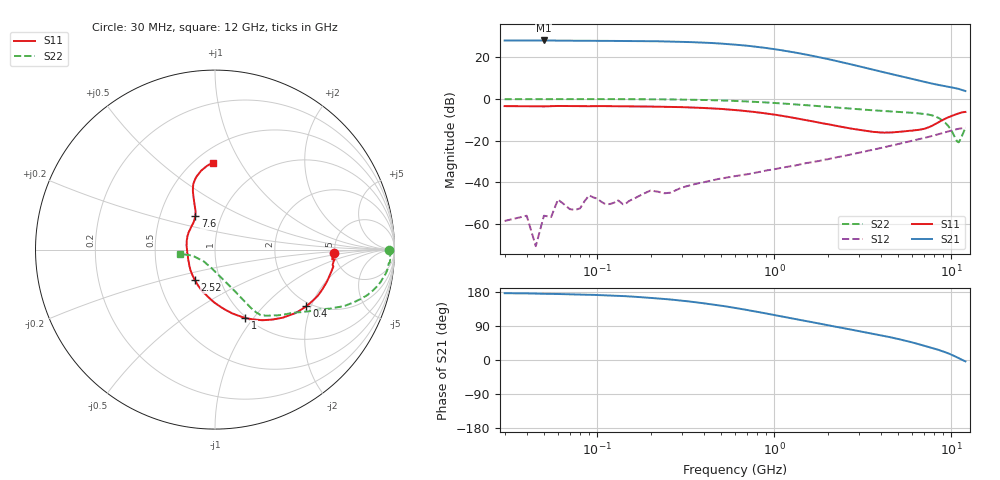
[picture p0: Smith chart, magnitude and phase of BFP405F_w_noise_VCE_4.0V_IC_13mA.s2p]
! Infineon Technologies  Discrete & RF Semiconductors
! BFP405F
! VCE =  4.0 V,  IC =  13 mA
! Common Emitter S-Parameters:  Nov 2015
# GHz  S  MA  R  50
!  f  S11  S21  S12  S22
! GHz  MAG  ANG  MAG  ANG  MAG  ANG  MAG  ANG
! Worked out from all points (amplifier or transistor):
!   239 points, 30 MHz to 12 GHz, reference 50 ohm
!   highest |S21| = 27.8 dB at 50 MHz (marker M1)
!   |S21| within 3 dB of that: start of sweep to 788.1 MHz
!   unconditionally stable (mu >= 1): 43.69 MHz to 48.07 MHz; 2.144 GHz to end of sweep
!   at 300 MHz: K = 0.24, MSG = 34.8 dB, |S12| = -42.5 dB
!   at 1.88 GHz: K = 0.93, MSG = 24.3 dB, |S12| = -29.3 dB
!   at 12 GHz: K = 1.37, MAG = 5.1 dB, |S12| = -13.9 dB
!   lowest NFmin = 1.86 dB at 450 MHz
!   S11 on the Smith chart (normalised r, x): 30 MHz: 4.92, -0.37; 400 MHz: 1.88, -1.85; 1 GHz: 0.99, -0.91; 2.52 GHz: 0.76, -0.27; 7.6 GHz: 0.75, +0.29; 12 GHz: 0.61, +0.77
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0.03  0.6636 -1.8  24.44 176.2  0.0012 86.3  0.9721 -0.2
0.04  0.6617 -2.6  24.41 175.8  0.0016 109.9  0.9746 -0.6
0.045  0.6578 -3.6  24.48 175.2  0.0003 31.7  0.9747 -1.0
0.05  0.6542 -4.6  24.57 174.7  0.0016 -46.6  0.9748 -1.4
0.06  0.6694 -4.7  24.3 174.2  0.0039 88.7  0.9757 -1.3
0.085  0.6615 -7.0  24.15 172.3  0.0036 79.2  0.9778 -2.5
0.14  0.6569 -11.7  23.96 168.8  0.003 65.5  0.976 -4.3
0.24  0.6395 -19.6  23.29 161.0  0.0055 76.8  0.9628 -7.6
0.3  0.6278 -24.2  22.83 156.6  0.0075 81.6  0.9508 -9.3
0.4  0.5988 -31.8  21.83 149.6  0.0101 74.8  0.9319 -12.2
0.48  0.5753 -37.1  20.93 144.6  0.012 75.6  0.912 -14.2
0.6  0.5359 -45.0  19.53 137.3  0.0141 74.0  0.8836 -16.8
0.78  0.4787 -55.1  17.48 128.1  0.017 72.0  0.8386 -20.0
1  0.4169 -66.2  15.24 118.6  0.0206 70.6  0.7898 -23.3
1.3  0.3454 -79.1  12.72 108.4  0.0251 70.5  0.7326 -26.4
1.64  0.2887 -92.2  10.55 99.6  0.0306 68.8  0.6809 -29.3
2.02  0.2447 -106.4  8.79 91.5  0.036 69.1  0.6334 -32.7
2.52  0.2041 -123.3  7.096 83.0  0.0435 67.7  0.5867 -36.5
4.5  0.1562 -178.3  3.942 60.3  0.0746 62.0  0.5012 -47.0
7.6  0.2152 120.7  2.341 33.3  0.1254 50.2  0.4091 -57.1
11  0.4467 99.9  1.711 4.6  0.1911 30.7  0.0908 -134.2
12  0.4824 91.4  1.521 -3.6  0.2022 25.0  0.1963 -173.1
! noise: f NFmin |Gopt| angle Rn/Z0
0.45  1.86  0.14  4  0.33
0.9  1.88  0.13  7  0.32
1.5  1.93  0.11  11  0.22
1.9  1.96  0.1  17  0.27
2.4  2.11  0.08  24  0.33
3  2.19  0.07  32  0.36
3.5  2.24  0.04  37  0.47
4.5  2.43  0.04  -69  0.18
5.5  2.69  0.13  -87  0.06
